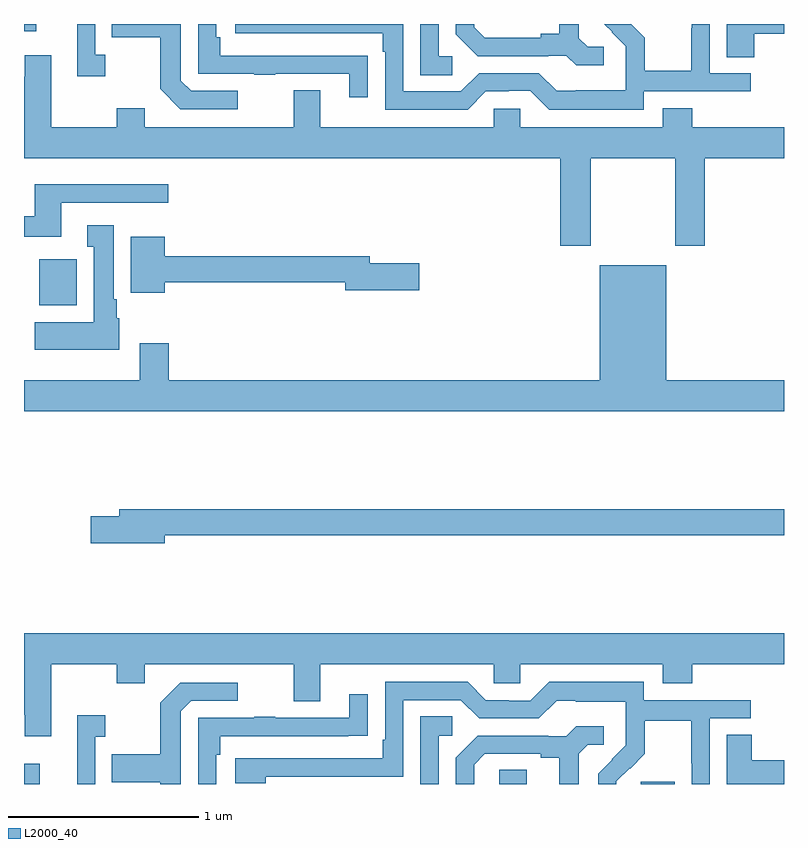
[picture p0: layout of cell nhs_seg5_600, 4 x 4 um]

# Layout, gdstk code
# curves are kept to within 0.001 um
import gdstk
lib = gdstk.Library(unit=1e-6, precision=1e-09)
def R(c, l, rs):  # rectangles x0, y0, x1, y1
    for r in rs: c.add(gdstk.rectangle(r[:2], r[2:], *l))
def P(c, l, *ps):  # polygons
    for p in ps: c.add(gdstk.Polygon(p, *l))
L2000_40 = (2000, 40)

nhs_seg5_600 = lib.new_cell('nhs_seg5_600')
R(nhs_seg5_600, L2000_40, [(149,854.799,149.083,854.905), (151.5,854.799,151.645,854.873), (152.246,854.799,152.425,854.811), (149.081,857.318,149.278,857.56), (149,858.761,149.065,858.799)])
P(nhs_seg5_600, L2000_40, [(150.124,858.447),(149.88,858.447),(149.826,858.501),(149.826,858.799),(149.461,858.799),(149.461,858.73),(149.718,858.73),(149.718,858.457),(149.823,858.351),(150.124,858.351)],
  [(149.428,858.638),(149.376,858.638),(149.376,858.799),(149.279,858.799),(149.279,858.525),(149.428,858.525)],
  [(152.05,858.678),(151.968,858.678),(151.921,858.725),(151.921,858.799),(151.817,858.799),(151.817,858.749),(151.721,858.749),(151.721,858.726),(151.426,858.726),(151.369,858.783),(151.369,858.799),(151.272,858.799),(151.272,858.746),(151.388,858.63),(151.76,858.63),(151.76,858.633),(151.854,858.633),(151.906,858.581),(152.05,858.581)],
  [(151.255,858.63),(151.182,858.63),(151.182,858.799),(151.086,858.799),(151.086,858.529),(151.255,858.529)],
  [(152.262,858.444),(152.824,858.444),(152.824,858.54),(152.61,858.54),(152.61,858.799),(152.514,858.799),(152.514,858.776),(152.512,858.776),(152.512,858.553),(152.267,858.553),(152.267,858.727),(152.195,858.799),(152.053,858.799),(152.168,858.682),(152.168,858.585),(152.166,858.585),(152.166,858.451),(151.903,858.451),(151.903,858.447),(151.803,858.447),(151.71,858.54),(151.395,858.54),(151.299,858.444),(150.996,858.444),(150.996,858.799),(150.111,858.799),(150.111,858.75),(150.887,858.75),(150.887,858.653),(150.9,858.653),(150.9,858.348),(151.335,858.348),(151.431,858.444),(151.55,858.444),(151.55,858.447),(151.665,858.447),(151.765,858.347),(152.262,858.347)],
  [(150.809,858.632),(150.707,858.632),(150.707,858.633),(150.032,858.633),(150.032,858.73),(150.012,858.73),(150.012,858.799),(149.916,858.799),(149.916,858.537),(150.211,858.537),(150.211,858.532),(150.323,858.532),(150.323,858.537),(150.713,858.537),(150.713,858.414),(150.809,858.414)],
  [(152.843,858.749),(153,858.749),(153,858.799),(152.699,858.799),(152.699,858.625),(152.843,858.625)],
  [(151.983,858.092),(152.428,858.092),(152.428,857.631),(152.583,857.631),(152.583,858.092),(153,858.092),(153,858.256),(152.516,858.256),(152.516,858.355),(152.363,858.355),(152.363,858.256),(151.611,858.256),(151.611,858.354),(151.473,858.354),(151.473,858.256),(150.559,858.256),(150.559,858.451),(150.419,858.451),(150.419,858.256),(149.635,858.256),(149.635,858.355),(149.488,858.355),(149.488,858.256),(149.143,858.256),(149.143,858.634),(149.003,858.634),(149.003,858.521),(149,858.521),(149,858.092),(151.823,858.092),(151.823,857.631),(151.983,857.631)],
  [(149.197,857.859),(149.758,857.859),(149.758,857.956),(149.057,857.956),(149.057,857.788),(149,857.788),(149,857.678),(149.197,857.678)],
  [(149.5,857.25),(149.488,857.25),(149.488,857.35),(149.473,857.35),(149.473,857.74),(149.333,857.74),(149.333,857.627),(149.366,857.627),(149.366,857.23),(149.057,857.23),(149.057,857.084),(149.5,857.084)],
  [(149.74,857.44),(150.692,857.44),(150.692,857.398),(151.081,857.398),(151.081,857.54),(150.82,857.54),(150.82,857.576),(149.74,857.576),(149.74,857.68),(149.561,857.68),(149.561,857.384),(149.74,857.384)],
  [(153,856.924),(152.38,856.924),(152.38,857.53),(152.03,857.53),(152.03,856.924),(149.762,856.924),(149.762,857.119),(149.609,857.119),(149.609,856.924),(149,856.924),(149,856.76),(153,856.76)],
  [(149.74,856.108),(153,856.108),(153,856.244),(149.501,856.244),(149.501,856.208),(149.352,856.208),(149.352,856.066),(149.74,856.066)],
  [(149.143,855.428),(149.488,855.428),(149.488,855.329),(149.635,855.329),(149.635,855.428),(150.419,855.428),(150.419,855.234),(150.559,855.234),(150.559,855.428),(151.473,855.428),(151.473,855.33),(151.611,855.33),(151.611,855.428),(152.363,855.428),(152.363,855.329),(152.516,855.329),(152.516,855.428),(153,855.428),(153,855.592),(149,855.592),(149,855.163),(149.003,855.163),(149.003,855.051),(149.143,855.051)],
  [(152.117,854.813),(152.187,854.883),(152.19,854.88),(152.267,854.957),(152.267,855.132),(152.512,855.132),(152.512,854.908),(152.514,854.908),(152.514,854.799),(152.61,854.799),(152.61,855.144),(152.824,855.144),(152.824,855.24),(152.262,855.24),(152.262,855.337),(151.765,855.337),(151.665,855.237),(151.55,855.237),(151.55,855.24),(151.431,855.24),(151.335,855.336),(150.9,855.336),(150.9,855.031),(150.887,855.031),(150.887,854.934),(150.111,854.934),(150.111,854.804),(150.272,854.804),(150.272,854.838),(150.996,854.838),(150.996,855.24),(151.299,855.24),(151.395,855.144),(151.71,855.144),(151.803,855.237),(151.903,855.237),(151.903,855.233),(152.166,855.233),(152.166,855.099),(152.168,855.099),(152.168,855.002),(152.022,854.854),(152.022,854.799),(152.117,854.799)],
  [(149.826,855.183),(149.88,855.237),(150.124,855.237),(150.124,855.333),(149.823,855.333),(149.718,855.227),(149.718,854.955),(149.461,854.955),(149.461,854.807),(149.718,854.807),(149.718,854.799),(149.826,854.799)],
  [(150.012,854.954),(150.032,854.954),(150.032,855.051),(150.707,855.051),(150.707,855.052),(150.809,855.052),(150.809,855.271),(150.713,855.271),(150.713,855.147),(150.323,855.147),(150.323,855.152),(150.211,855.152),(150.211,855.147),(149.916,855.147),(149.916,854.799),(150.012,854.799)],
  [(149.376,855.047),(149.428,855.047),(149.428,855.16),(149.279,855.16),(149.279,854.799),(149.376,854.799)],
  [(151.182,855.054),(151.255,855.054),(151.255,855.155),(151.086,855.155),(151.086,854.799),(151.182,854.799)],
  [(151.369,854.901),(151.426,854.958),(151.721,854.958),(151.721,854.936),(151.817,854.936),(151.817,854.799),(151.921,854.799),(151.921,854.959),(151.968,855.006),(152.05,855.006),(152.05,855.103),(151.906,855.103),(151.854,855.051),(151.76,855.051),(151.76,855.054),(151.388,855.054),(151.272,854.938),(151.272,854.799),(151.369,854.799)],
  [(153,854.923),(152.83,854.923),(152.83,855.059),(152.699,855.059),(152.699,854.799),(153,854.799)])

lib.write_gds('nhs_seg5_600.gds')
